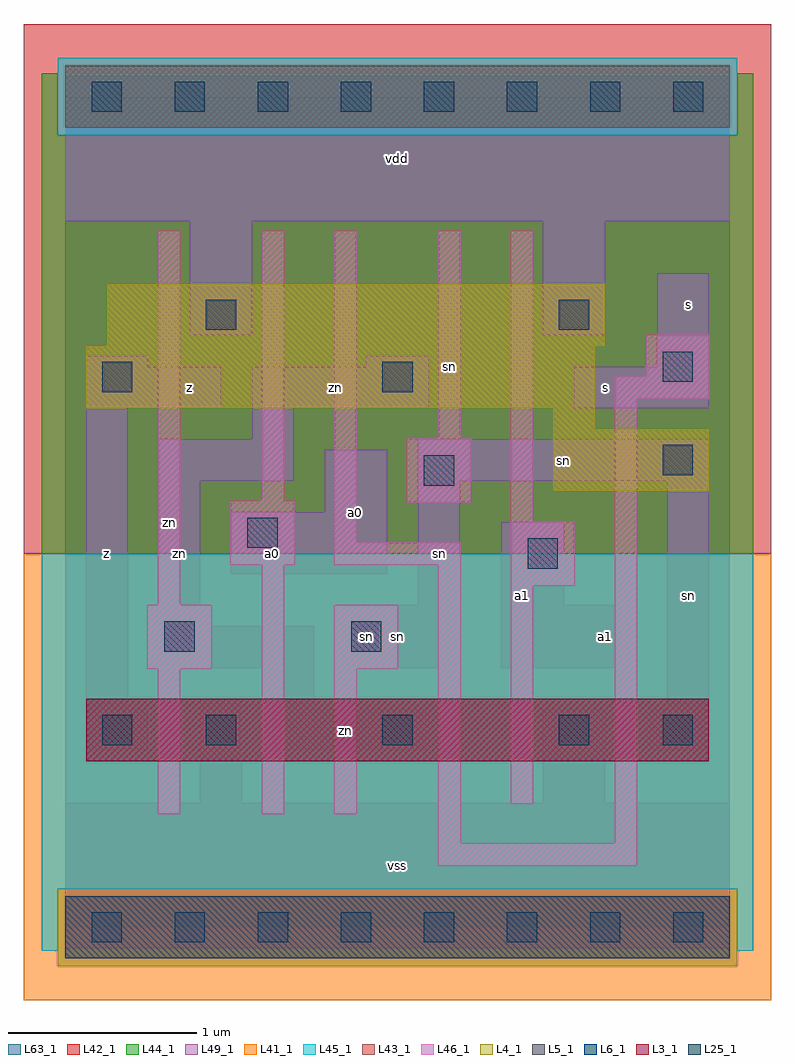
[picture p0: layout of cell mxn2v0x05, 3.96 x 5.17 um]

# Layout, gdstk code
import gdstk
lib = gdstk.Library(unit=1e-6, precision=1e-09)
def R(c, l, rs):  # rectangles x0, y0, x1, y1
    for r in rs: c.add(gdstk.rectangle(r[:2], r[2:], *l))
def A(c, l, x, y, w, h, nx, ny, dx, dy):  # array of equal rectangles
    R(c, l, [(x+i*dx, y+j*dy, x+i*dx+w, y+j*dy+h) for i in range(nx) for j in range(ny)])
L3_1 = (3, 1)
L4_1 = (4, 1)
L5_1 = (5, 1)
L6_1 = (6, 1)
L25_1 = (25, 1)
L41_1 = (41, 1)
L42_1 = (42, 1)
L43_1 = (43, 1)
L44_1 = (44, 1)
L45_1 = (45, 1)
L46_1 = (46, 1)
L49_1 = (49, 1)
L63_1 = (63, 1)

mxn2v0x05 = lib.new_cell('mxn2v0x05')
R(mxn2v0x05, L3_1, [(0.11,0.88,3.41,1.21)])
R(mxn2v0x05, L4_1, [(2.585,2.31,3.41,2.64), (2.585,2.64,2.805,2.75), (0.11,2.75,2.805,3.08), (0.22,3.08,2.86,3.41)])
R(mxn2v0x05, L5_1, [(0,4.235,3.52,4.565)])
R(mxn2v0x05, L6_1, [(0,-0.165,3.52,0.165)])
A(mxn2v0x05, L25_1, 0.14, -0.08, 0.16, 0.16, 8, 2, 0.44, 4.4)
A(mxn2v0x05, L25_1, 0.745, 0.965, 0.16, 0.16, 3, 1, 0.935, 0)
R(mxn2v0x05, L25_1, [(0.195,0.965,0.355,1.125), (3.165,0.965,3.325,1.125), (0.525,1.46,0.685,1.62), (1.515,1.46,1.675,1.62), (2.45,1.9,2.61,2.06), (0.965,2.01,1.125,2.17), (1.9,2.34,2.06,2.5), (3.165,2.395,3.325,2.555), (0.195,2.835,0.355,2.995), (1.68,2.835,1.84,2.995), (3.165,2.89,3.325,3.05), (0.745,3.165,0.905,3.325), (2.615,3.165,2.775,3.325)])
R(mxn2v0x05, L41_1, [(-0.22,-0.385,3.74,1.98)])
R(mxn2v0x05, L42_1, [(-0.22,1.98,3.74,4.785)])
R(mxn2v0x05, L43_1, [(0,-0.165,3.52,0.165), (0.11,0.88,3.41,1.21), (2.585,2.31,3.41,2.64), (2.585,2.64,2.805,2.75), (0.11,2.75,2.805,3.08), (0.22,3.08,2.86,3.41), (0,4.235,3.52,4.565)])
R(mxn2v0x05, L44_1, [(-0.04,-0.205,3.56,0.205), (-0.125,1.98,3.645,4.195), (-0.125,4.195,-0.04,4.525), (3.56,4.195,3.645,4.525)])
R(mxn2v0x05, L45_1, [(-0.125,-0.125,-0.04,0.205), (3.56,-0.125,3.645,0.205), (-0.125,0.205,3.645,1.98), (-0.04,4.195,3.56,4.605)])
R(mxn2v0x05, L46_1, [(1.975,0.325,3.03,0.445), (1.975,0.445,2.095,1.92), (2.91,0.445,3.03,2.8), (0.49,0.6,0.61,1.37), (1.04,0.6,1.16,1.92), (1.425,0.6,1.545,1.37), (2.36,0.655,2.48,1.81), (0.435,1.37,0.775,1.71), (1.425,1.37,1.765,1.71), (0.49,1.71,0.61,3.69), (2.36,1.81,2.7,2.15), (0.875,1.92,1.215,2.26), (1.425,1.92,2.095,2.04), (1.425,2.04,1.545,3.69), (2.36,2.15,2.48,3.69), (1.81,2.25,2.15,2.59), (1.04,2.26,1.16,3.69), (1.975,2.59,2.095,3.69), (2.91,2.8,3.415,2.92), (3.075,2.92,3.415,3.14)])
R(mxn2v0x05, L49_1, [(0,-0.11,3.52,0.66), (0.715,0.66,0.935,1.21), (2.53,0.66,2.86,1.155), (0.11,0.935,0.44,1.155), (1.1,0.935,1.925,1.155), (3.08,0.935,3.41,1.155), (0.11,1.155,0.33,2.75), (1.1,1.155,1.32,1.375), (3.19,1.155,3.41,2.365), (0.495,1.375,1.32,1.595), (1.485,1.375,2.09,1.705), (2.31,1.375,2.97,1.705), (0.495,1.595,0.715,2.365), (1.87,1.705,2.09,2.365), (2.31,1.705,2.64,2.145), (0.88,1.87,1.705,2.2), (1.375,2.2,1.705,2.53), (0.495,2.365,1.21,2.585), (1.87,2.365,3.41,2.585), (0.99,2.585,1.21,2.75), (0.11,2.75,0.825,2.97), (0.99,2.75,1.925,2.97), (2.695,2.75,3.41,2.97), (0.11,2.97,0.44,3.025), (1.595,2.97,1.925,3.025), (3.135,2.97,3.41,3.465), (0.66,3.135,0.99,3.74), (2.53,3.135,2.86,3.74), (0,3.74,3.52,4.51)])
R(mxn2v0x05, L63_1, [(0,0,3.52,4.4)])
mxn2v0x05.add(gdstk.Label('zn', (0.55,2.145), layer=46, texttype=1))
mxn2v0x05.add(gdstk.Label('sn', (1.595,1.54), layer=49, texttype=1))
mxn2v0x05.add(gdstk.Label('sn', (2.035,2.97), layer=46, texttype=1))
mxn2v0x05.add(gdstk.Label('z', (0.22,1.98), layer=49, texttype=1))
mxn2v0x05.add(gdstk.Label('zn', (0.605,1.98), layer=49, texttype=1))
mxn2v0x05.add(gdstk.Label('a0', (1.1,1.98), layer=49, texttype=1))
mxn2v0x05.add(gdstk.Label('z', (0.66,2.86), layer=49, texttype=1))
mxn2v0x05.add(gdstk.Label('vss', (1.76,0.33), layer=49, texttype=1))
mxn2v0x05.add(gdstk.Label('zn', (1.485,1.045), layer=49, texttype=1))
mxn2v0x05.add(gdstk.Label('sn', (1.98,1.98), layer=49, texttype=1))
mxn2v0x05.add(gdstk.Label('sn', (1.76,1.54), layer=49, texttype=1))
mxn2v0x05.add(gdstk.Label('a0', (1.54,2.2), layer=49, texttype=1))
mxn2v0x05.add(gdstk.Label('zn', (1.43,2.86), layer=49, texttype=1))
mxn2v0x05.add(gdstk.Label('vdd', (1.76,4.07), layer=49, texttype=1))
mxn2v0x05.add(gdstk.Label('a1', (2.42,1.76), layer=49, texttype=1))
mxn2v0x05.add(gdstk.Label('a1', (2.86,1.54), layer=49, texttype=1))
mxn2v0x05.add(gdstk.Label('sn', (3.3,1.76), layer=49, texttype=1))
mxn2v0x05.add(gdstk.Label('sn', (2.64,2.475), layer=49, texttype=1))
mxn2v0x05.add(gdstk.Label('s', (2.86,2.86), layer=49, texttype=1))
mxn2v0x05.add(gdstk.Label('s', (3.3,3.3), layer=49, texttype=1))

lib.write_gds('mxn2v0x05.gds')
